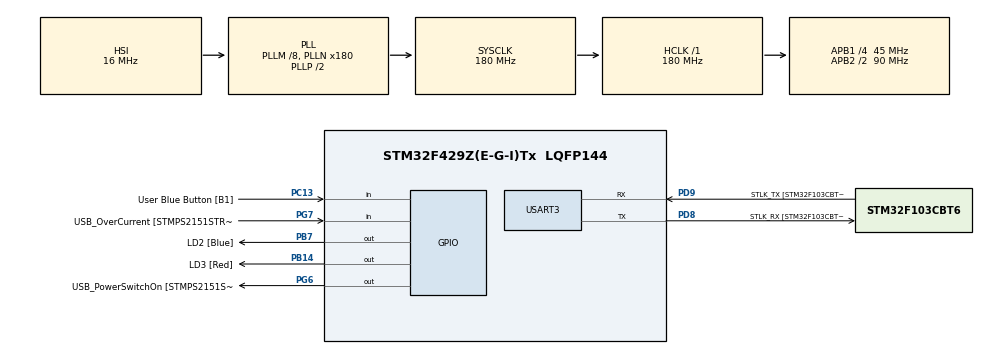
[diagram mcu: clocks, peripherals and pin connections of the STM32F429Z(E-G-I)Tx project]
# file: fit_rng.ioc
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Mcu.Family=STM32F4
Mcu.Name=STM32F429Z(E-G-I)Tx
Mcu.Package=LQFP144
NVIC.PriorityGroup=NVIC_PRIORITYGROUP_4
PA1.GPIO_Label=RMII_REF_CLK [LAN8742A-CZ-TR_REFCLK0]
PA1.Signal=ETH_REF_CLK
PA10.GPIO_Label=USB_ID
PA10.Signal=USB_OTG_FS_ID
PA11.GPIO_Label=USB_DM
PA11.Signal=USB_OTG_FS_DM
PA12.GPIO_Label=USB_DP
PA12.Signal=USB_OTG_FS_DP
PA13.GPIO_Label=TMS
PA13.Signal=SYS_JTMS-SWDIO
PA14.GPIO_Label=TCK
PA14.Signal=SYS_JTCK-SWCLK
PA2.GPIO_Label=RMII_MDIO [LAN8742A-CZ-TR_MDIO]
PA2.Signal=ETH_MDIO
PA7.GPIO_Label=RMII_CRS_DV [LAN8742A-CZ-TR_CRS_DV]
PA7.Signal=ETH_CRS_DV
PA8.GPIO_Label=USB_SOF [TP1]
PA8.Signal=USB_OTG_FS_SOF
PA9.GPIO_Label=USB_VBUS
PA9.Signal=USB_OTG_FS_VBUS
PB13.GPIO_Label=RMII_TXD1 [LAN8742A-CZ-TR_TXD1]
PB13.Signal=ETH_TXD1
PB14.GPIO_Label=LD3 [Red]
PB14.Signal=GPIO_Output
PB7.GPIO_Label=LD2 [Blue]
PB7.Signal=GPIO_Output
PC1.GPIO_Label=RMII_MDC [LAN8742A-CZ-TR_MDC]
PC1.Signal=ETH_MDC
PC13.GPIO_Label=User Blue Button [B1]
PC13.Signal=GPIO_Input
PC14/OSC32_IN.Signal=RCC_OSC32_IN
PC15/OSC32_OUT.Signal=RCC_OSC32_OUT
PC4.GPIO_Label=RMII_RXD0 [LAN8742A-CZ-TR_RXD0]
PC4.Signal=ETH_RXD0
PC5.GPIO_Label=RMII_RXD1 [LAN8742A-CZ-TR_RXD1]
PC5.Signal=ETH_RXD1
PD8.GPIO_Label=STLK_RX [STM32F103CBT6_PA3]
PD8.Mode=Asynchronous
PD8.Signal=USART3_TX
PD9.GPIO_Label=STLK_TX [STM32F103CBT6_PA2]
PD9.Mode=Asynchronous
PD9.Signal=USART3_RX
PG11.GPIO_Label=RMII_TX_EN [LAN8742A-CZ-TR_TXEN]
PG11.Signal=ETH_TX_EN
PG13.GPIO_Label=RMII_TXD0 [LAN8742A-CZ-TR_TXD0]
PG13.Signal=ETH_TXD0
PG6.GPIO_Label=USB_PowerSwitchOn [STMPS2151STR_EN]
PG6.Signal=GPIO_Output
PG7.GPIO_Label=USB_OverCurrent [STMPS2151STR_FAULT]
PG7.Signal=GPIO_Input
PH0/OSC_IN.GPIO_Label=MCO [STM32F103CBT6_PA8]
PH0/OSC_IN.Signal=RCC_OSC_IN
PH1/OSC_OUT.Signal=RCC_OSC_OUT
ProjectManager.HeapSize=0x200
ProjectManager.StackSize=0x400
ProjectManager.TargetToolchain=EWARM
RCC.48MHZClocksFreq_Value=45000000
RCC.AHBFreq_Value=180000000
RCC.APB1CLKDivider=RCC_HCLK_DIV4
RCC.APB1Freq_Value=45000000
RCC.APB1TimFreq_Value=90000000
RCC.APB2CLKDivider=RCC_HCLK_DIV2
RCC.APB2Freq_Value=90000000
RCC.APB2TimFreq_Value=180000000
RCC.CortexFreq_Value=180000000
RCC.HCLKFreq_Value=180000000
RCC.HSE_VALUE=8000000
RCC.HSI_VALUE=16000000
RCC.LSE_VALUE=32768
RCC.PLLM=8
RCC.PLLMUL=RCC_PLL_MUL9
RCC.PLLN=180
RCC.PLLQ=8
RCC.PRESCALERUSB=RCC_USBCLKSOURCE_PLL_DIV1_5
RCC.SYSCLKFreq_VALUE=180000000
RCC.SYSCLKSource=RCC_SYSCLKSOURCE_PLLCLK
RCC.SYSCLKSourceVirtual=RCC_SYSCLKSOURCE_PLLCLK
RCC.USBFreq_Value=48000000
RCC.VCOOutputFreq_Value=360000000
VP_RNG_VS_RNG.Mode=RNG_Activate
board=NUCLEO-F429ZI

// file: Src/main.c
/**
  ******************************************************************************
  * File Name          : main.c
  * Description        : Main program body
  ******************************************************************************
  *
  * COPYRIGHT(c) 2017 STMicroelectronics
  *
  * Redistribution and use in source and binary forms, with or without modification,
  * are permitted provided that the following conditions are met:
  *   1. Redistributions of source code must retain the above copyright notice,
  *      this list of conditions and the following disclaimer.
  *   2. Redistributions in binary form must reproduce the above copyright notice,
  *      this list of conditions and the following disclaimer in the documentation
  *      and/or other materials provided with the distribution.
  *   3. Neither the name of STMicroelectronics nor the names of its contributors
  *      may be used to endorse or promote products derived from this software
  *      without specific prior written permission.
  *
  * THIS SOFTWARE IS PROVIDED BY THE COPYRIGHT HOLDERS AND CONTRIBUTORS "AS IS"
  * AND ANY EXPRESS OR IMPLIED WARRANTIES, INCLUDING, BUT NOT LIMITED TO, THE
  * IMPLIED WARRANTIES OF MERCHANTABILITY AND FITNESS FOR A PARTICULAR PURPOSE ARE
  * DISCLAIMED. IN NO EVENT SHALL THE COPYRIGHT HOLDER OR CONTRIBUTORS BE LIABLE
  * FOR ANY DIRECT, INDIRECT, INCIDENTAL, SPECIAL, EXEMPLARY, OR CONSEQUENTIAL
  * DAMAGES (INCLUDING, BUT NOT LIMITED TO, PROCUREMENT OF SUBSTITUTE GOODS OR
  * SERVICES; LOSS OF USE, DATA, OR PROFITS; OR BUSINESS INTERRUPTION) HOWEVER
  * CAUSED AND ON ANY THEORY OF LIABILITY, WHETHER IN CONTRACT, STRICT LIABILITY,
  * OR TORT (INCLUDING NEGLIGENCE OR OTHERWISE) ARISING IN ANY WAY OUT OF THE USE
  * OF THIS SOFTWARE, EVEN IF ADVISED OF THE POSSIBILITY OF SUCH DAMAGE.
  *
  ******************************************************************************
  */
#include "main.h"
#include "stm32f4xx_hal.h"
#include "rng.h"
#include "usart.h"
#include "gpio.h"

/* USER CODE BEGIN Includes */
#include "stdio.h"

/* USER CODE END Includes */

/* USER CODE BEGIN PV */
/* Private variables ---------------------------------------------------------*/

/* USER CODE END PV */

void SystemClock_Config(void);
void Error_Handler(void);

/* USER CODE BEGIN PFP */
/* Private function prototypes -----------------------------------------------*/
#ifdef __GNUC__
/* With GCC/RAISONANCE, small printf (option LD Linker->Libraries->Small printf
   set to 'Yes') calls __io_putchar() */
#define PUTCHAR_PROTOTYPE int __io_putchar(int ch)
#else
#define PUTCHAR_PROTOTYPE int fputc(int ch, FILE *f)
#endif /* __GNUC__ */
/* USER CODE END PFP */

/* USER CODE BEGIN 0 */
/* Used for sending the Random 32bit Numbers */
uint32_t aRandom32bit;
/* USER CODE END 0 */

int main(void)
{

  /* USER CODE BEGIN 1 */
  volatile char KeyPressed = 0;
  /* USER CODE END 1 */

  /* MCU Configuration----------------------------------------------------------*/

  /* Reset of all peripherals, Initializes the Flash interface and the Systick. */
  HAL_Init();

  /* Configure the system clock */
  SystemClock_Config();

  /* Initialize all configured peripherals */
  MX_GPIO_Init();
  MX_RNG_Init();
  MX_USART3_UART_Init();

  /* Infinite loop */
  while (1)
  {

  /* USER CODE BEGIN 3 */
    if(KeyPressed){
      aRandom32bit = HAL_RNG_GetRandomNumber(&hrng);
      printf(" %lu \n\r",aRandom32bit);
    }
    else{
      KeyPressed = 0;
    }
    if(HAL_GPIO_ReadPin(GPIOC,GPIO_PIN_13) == GPIO_PIN_SET){
      KeyPressed = ~KeyPressed;
      while(HAL_GPIO_ReadPin(GPIOC,GPIO_PIN_13) == GPIO_PIN_SET);
      HAL_Delay(300);
    }
  }
  /* USER CODE END 3 */

}

/** System Clock Configuration
*/
void SystemClock_Config(void)
{

  RCC_OscInitTypeDef RCC_OscInitStruct;
  RCC_ClkInitTypeDef RCC_ClkInitStruct;

    /**Configure the main internal regulator output voltage
    */
  __HAL_RCC_PWR_CLK_ENABLE();

  __HAL_PWR_VOLTAGESCALING_CONFIG(PWR_REGULATOR_VOLTAGE_SCALE1);

    /**Initializes the CPU, AHB and APB busses clocks
    */
  RCC_OscInitStruct.OscillatorType = RCC_OSCILLATORTYPE_HSI;
  RCC_OscInitStruct.HSIState = RCC_HSI_ON;
  RCC_OscInitStruct.HSICalibrationValue = 16;
  RCC_OscInitStruct.PLL.PLLState = RCC_PLL_ON;
  RCC_OscInitStruct.PLL.PLLSource = RCC_PLLSOURCE_HSI;
  RCC_OscInitStruct.PLL.PLLM = 8;
  RCC_OscInitStruct.PLL.PLLN = 180;
  RCC_OscInitStruct.PLL.PLLP = RCC_PLLP_DIV2;
  RCC_OscInitStruct.PLL.PLLQ = 8;
  if (HAL_RCC_OscConfig(&RCC_OscInitStruct) != HAL_OK)
  {
    Error_Handler();
  }

    /**Activate the Over-Drive mode
    */
  if (HAL_PWREx_EnableOverDrive() != HAL_OK)
  {
    Error_Handler();
  }

    /**Initializes the CPU, AHB and APB busses clocks
    */
  RCC_ClkInitStruct.ClockType = RCC_CLOCKTYPE_HCLK|RCC_CLOCKTYPE_SYSCLK
                              |RCC_CLOCKTYPE_PCLK1|RCC_CLOCKTYPE_PCLK2;
  RCC_ClkInitStruct.SYSCLKSource = RCC_SYSCLKSOURCE_PLLCLK;
  RCC_ClkInitStruct.AHBCLKDivider = RCC_SYSCLK_DIV1;
  RCC_ClkInitStruct.APB1CLKDivider = RCC_HCLK_DIV4;
  RCC_ClkInitStruct.APB2CLKDivider = RCC_HCLK_DIV2;

  if (HAL_RCC_ClockConfig(&RCC_ClkInitStruct, FLASH_LATENCY_5) != HAL_OK)
  {
    Error_Handler();
  }

    /**Configure the Systick interrupt time
    */
  HAL_SYSTICK_Config(HAL_RCC_GetHCLKFreq()/1000);

    /**Configure the Systick
    */
  HAL_SYSTICK_CLKSourceConfig(SYSTICK_CLKSOURCE_HCLK);

  /* SysTick_IRQn interrupt configuration */
  HAL_NVIC_SetPriority(SysTick_IRQn, 0, 0);
}

/* USER CODE BEGIN 4 */
/**
  * @brief  Retargets the C library printf function to the USART.
  * @param  None
  * @retval None
  */
PUTCHAR_PROTOTYPE
{
  /* Place your implementation of fputc here */
  /* e.g. write a character to the USART3 and Loop until the end of transmission */
  HAL_UART_Transmit(&huart3, (uint8_t *)&ch, 1, 0xFFFF);

  return ch;
}
/* USER CODE END 4 */

void Error_Handler(void)
{
  while(1)
  {
  }
}

/************************ (C) COPYRIGHT STMicroelectronics *****END OF FILE****/
